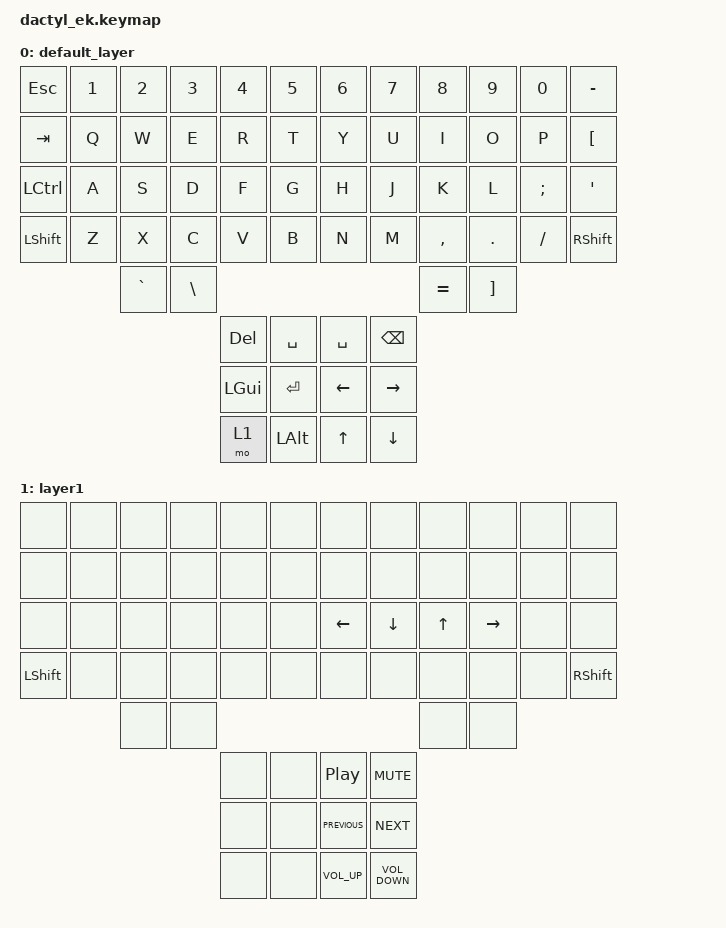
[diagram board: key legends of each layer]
#include <behaviors.dtsi>
#include <dt-bindings/zmk/keys.h>
#include <dt-bindings/zmk/bt.h>

/ {
    combos {
        compatible = "zmk,combos";
        combo_sel1 {
            timeout-ms = <50>;
            key-positions = <1 11>;
            bindings = <&bt BT_SEL 0>;
        };
        combo_sel2 {
            timeout-ms = <50>;
            key-positions = <2 11>;
            bindings = <&bt BT_SEL 1>;
        };
        combo_sel3 {
            timeout-ms = <50>;
            key-positions = <3 11>;
            bindings = <&bt BT_SEL 2>;
        };
        combo_esc {
            timeout-ms = <50>;
            key-positions = <0 11>;
            bindings = <&bt BT_CLR>;
        };
    };
};
/ {
    keymap {
        compatible = "zmk,keymap";

        default_layer {
            bindings = <
&kp ESC    &kp N1 &kp N2    &kp N3   &kp N4      &kp N5         &kp N6    &kp N7    &kp N8    &kp N9    &kp N0     &kp MINUS
&kp TAB    &kp Q  &kp W     &kp E    &kp R       &kp T          &kp Y     &kp U     &kp I     &kp O     &kp P      &kp LBKT
&kp LCTRL  &kp A  &kp S     &kp D    &kp F       &kp G          &kp H     &kp J     &kp K     &kp L     &kp SEMI      &kp SQT
&kp LSHIFT &kp Z  &kp X     &kp C    &kp V       &kp B          &kp N     &kp M     &kp COMMA &kp DOT   &kp FSLH      &kp RSHFT
                  &kp GRAVE &kp BSLH                                                &kp EQUAL &kp RBKT
                                     &kp DEL     &kp SPACE      &kp SPACE     &kp BSPC
                                     &kp LGUI    &kp RET        &kp LEFT      &kp RIGHT
                                     &mo 1  &kp LALT       &kp UP    &kp DOWN
            >;
        };
        layer1 {
            bindings = <
&none &none &none &none &none &none       &none &none &none &none &none &none
&none &none &none &none &none &none       &none &none &none &none &none &none
&none &none &none &none &none &none       &kp LEFT &kp DOWN &kp UP &kp RIGHT &none &none
&kp LSHIFT &none &none &none &none &none       &none &none &none &none &none &kp RSHFT
            &none &none                               &none &none
                        &none &none       &kp C_PLAY_PAUSE &kp C_MUTE
                        &none &none       &kp C_PREVIOUS &kp C_NEXT
                        &none &none       &kp C_VOLUME_UP &kp C_VOLUME_DOWN
            >;
        };
    };
};
